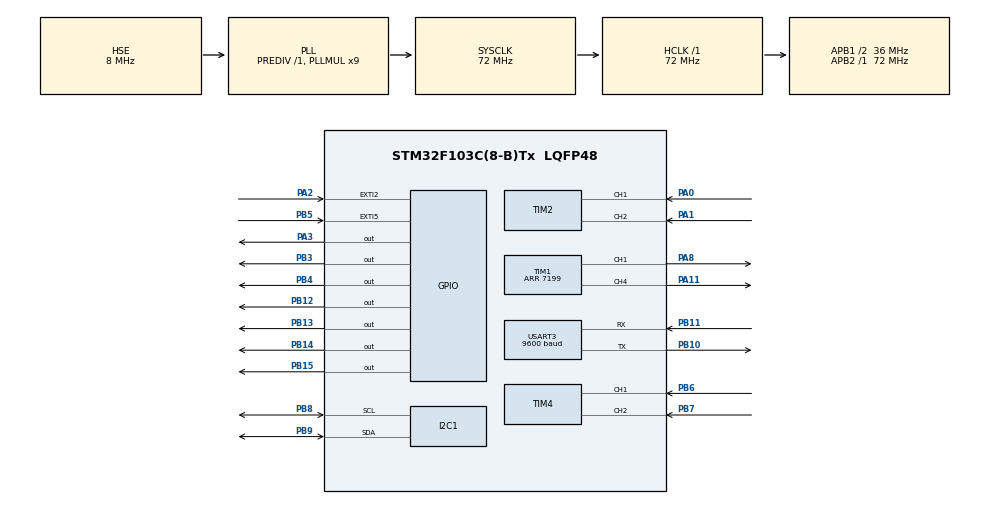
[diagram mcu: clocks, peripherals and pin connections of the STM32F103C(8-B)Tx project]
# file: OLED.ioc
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FREERTOS.Tasks01=defaultTask,0,128,StartDefaultTask,Default,NULL,Dynamic,NULL,NULL
Mcu.Family=STM32F1
Mcu.Name=STM32F103C(8-B)Tx
Mcu.Package=LQFP48
NVIC.EXTI2_IRQn=true\:5\:0\:false\:false\:true\:true\:true\:true\:true
NVIC.EXTI9_5_IRQn=true\:5\:0\:false\:false\:true\:true\:true\:true\:true
NVIC.PriorityGroup=NVIC_PRIORITYGROUP_4
NVIC.USART3_IRQn=true\:5\:0\:false\:false\:true\:true\:true\:true\:true
PA0-WKUP.Signal=S_TIM2_CH1_ETR
PA1.Signal=S_TIM2_CH2
PA11.Signal=S_TIM1_CH4
PA13.Mode=Serial_Wire
PA13.Signal=SYS_JTMS-SWDIO
PA14.Mode=Serial_Wire
PA14.Signal=SYS_JTCK-SWCLK
PA2.GPIO_ModeDefaultEXTI=GPIO_MODE_IT_RISING_FALLING
PA2.Signal=GPXTI2
PA3.GPIO_Speed=GPIO_SPEED_FREQ_HIGH
PA3.Signal=GPIO_Output
PA8.Signal=S_TIM1_CH1
PB10.Mode=Asynchronous
PB10.Signal=USART3_TX
PB11.Mode=Asynchronous
PB11.Signal=USART3_RX
PB12.Signal=GPIO_Output
PB13.Signal=GPIO_Output
PB14.Signal=GPIO_Output
PB15.Signal=GPIO_Output
PB3.Signal=GPIO_Output
PB4.Signal=GPIO_Output
PB5.GPIO_ModeDefaultEXTI=GPIO_MODE_IT_FALLING
PB5.GPIO_PuPd=GPIO_PULLUP
PB5.Signal=GPXTI5
PB6.Signal=S_TIM4_CH1
PB7.Signal=S_TIM4_CH2
PB8.Mode=I2C
PB8.Signal=I2C1_SCL
PB9.Mode=I2C
PB9.Signal=I2C1_SDA
PC14-OSC32_IN.Mode=LSE-External-Oscillator
PC14-OSC32_IN.Signal=RCC_OSC32_IN
PC15-OSC32_OUT.Mode=LSE-External-Oscillator
PC15-OSC32_OUT.Signal=RCC_OSC32_OUT
PD0-OSC_IN.Mode=HSE-External-Oscillator
PD0-OSC_IN.Signal=RCC_OSC_IN
PD1-OSC_OUT.Mode=HSE-External-Oscillator
PD1-OSC_OUT.Signal=RCC_OSC_OUT
ProjectManager.HeapSize=0x200
ProjectManager.StackSize=0x400
ProjectManager.TargetToolchain=MDK-ARM V5.32
RCC.AHBFreq_Value=72000000
RCC.APB1CLKDivider=RCC_HCLK_DIV2
RCC.APB1Freq_Value=36000000
RCC.APB1TimFreq_Value=72000000
RCC.APB2Freq_Value=72000000
RCC.APB2TimFreq_Value=72000000
RCC.HCLKFreq_Value=72000000
RCC.PLLMUL=RCC_PLL_MUL9
RCC.PLLSourceVirtual=RCC_PLLSOURCE_HSE
RCC.SYSCLKFreq_VALUE=72000000
RCC.SYSCLKSource=RCC_SYSCLKSOURCE_PLLCLK
RCC.USBFreq_Value=72000000
SH.S_TIM1_CH1.0=TIM1_CH1,PWM Generation1 CH1
SH.S_TIM1_CH4.0=TIM1_CH4,PWM Generation4 CH4
SH.S_TIM2_CH1_ETR.0=TIM2_CH1,Encoder_Interface
SH.S_TIM2_CH2.0=TIM2_CH2,Encoder_Interface
SH.S_TIM4_CH1.0=TIM4_CH1,Encoder_Interface
SH.S_TIM4_CH2.0=TIM4_CH2,Encoder_Interface
TIM1.Channel-PWM\ Generation1\ CH1=TIM_CHANNEL_1
TIM1.Channel-PWM\ Generation4\ CH4=TIM_CHANNEL_4
TIM1.Period=7199
TIM1.Pulse-PWM\ Generation1\ CH1=7200
TIM2.EncoderMode=TIM_ENCODERMODE_TI12
TIM3.Prescaler=71
TIM4.EncoderMode=TIM_ENCODERMODE_TI12
USART3.BaudRate=9600
USART3.VirtualMode=VM_ASYNC
VP_FREERTOS_VS_CMSIS_V1.Mode=CMSIS_V1
VP_TIM3_VS_ClockSourceINT.Mode=Internal
board=custom

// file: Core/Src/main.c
/* USER CODE BEGIN Header */
/**
  ******************************************************************************
  * @file           : main.c
  * @brief          : Main program body
  ******************************************************************************
  * @attention
  *
  * Copyright (c) 2024 STMicroelectronics.
  * All rights reserved.
  *
  * This software is licensed under terms that can be found in the LICENSE file
  * in the root directory of this software component.
  * If no LICENSE file comes with this software, it is provided AS-IS.
  *
  ******************************************************************************
  */
/* USER CODE END Header */
#include "main.h"
#include "cmsis_os.h"
#include "i2c.h"
#include "tim.h"
#include "usart.h"
#include "gpio.h"

/* USER CODE BEGIN Includes */
#include "oled.h"
#include "IIC.h"
#include "inv_mpu.h"
#include "inv_mpu_dmp_motion_driver.h"
#include "mpu6050.h"
#include "stdio.h"
#include "sr04.h"
#include "motor.h"
#include "encoder.h"
/* USER CODE END Includes */

/* USER CODE BEGIN PV */
extern float roll;
extern int Encoder_Left,Encoder_Right;
uint8_t display_buf[20];
uint32_t sys_tick;
extern float distance;
extern uint8_t rx_buf[2];
extern SemaphoreHandle_t g_ctrl_share_mutex;
extern SemaphoreHandle_t g_oled_mutex;
extern SemaphoreHandle_t g_ble_data_mutex;
/* USER CODE END PV */

void SystemClock_Config(void);
void MX_FREERTOS_Init(void);
/* USER CODE BEGIN PFP */
void Read(void);
/* USER CODE END PFP */

int main(void)
{

  /* MCU Configuration--------------------------------------------------------*/

  /* Reset of all peripherals, Initializes the Flash interface and the Systick. */
  HAL_Init();

  /* Configure the system clock */
  SystemClock_Config();

  /* Initialize all configured peripherals */
  MX_GPIO_Init();
  MX_I2C1_Init();
  MX_TIM3_Init();
  MX_TIM1_Init();
  MX_TIM2_Init();
  MX_TIM4_Init();
  MX_USART3_UART_Init();
  /* USER CODE BEGIN 2 */
	OLED_Init();
	OLED_Clear();
	MPU_Init();
	mpu_dmp_init();

	OLED_ShowString(0,00,"Init Sucess",16);

	HAL_NVIC_SetPriority(EXTI9_5_IRQn, 0, 0);
    HAL_NVIC_EnableIRQ(EXTI9_5_IRQn);

	HAL_TIM_PWM_Start(&htim1,TIM_CHANNEL_1);
	HAL_TIM_PWM_Start(&htim1,TIM_CHANNEL_4);
	HAL_TIM_Encoder_Start(&htim2,TIM_CHANNEL_ALL);
	HAL_TIM_Encoder_Start(&htim4,TIM_CHANNEL_ALL);
	HAL_UART_Receive_IT(&huart3,rx_buf,1);
	Load(0,0);
	OLED_Clear();

	// ����������
    g_ctrl_share_mutex = xSemaphoreCreateMutex();
    g_oled_mutex = xSemaphoreCreateMutex();
  /* USER CODE END 2 */

  /* Call init function for freertos objects (in freertos.c) */
  MX_FREERTOS_Init();

  /* Start scheduler */
  osKernelStart();

  /* We should never get here as control is now taken by the scheduler */
  /* Infinite loop */
  /* USER CODE BEGIN WHILE */
  while (1)
  {
//		sprintf((char *)display_buf,"Encoder_L:%d   ",Encoder_Left);
//		OLED_ShowString(0,0,display_buf,16);
//		sprintf((char *)display_buf,"Encoder_R:%d   ",Encoder_Right);
//		OLED_ShowString(0,2,display_buf,16);
//		sprintf((char *)display_buf,"roll:%.1f   ",roll);
//		OLED_ShowString(0,4,display_buf,16);
//		GET_Distance();
//		sprintf((char *)display_buf,"distance:%.1f  ",distance);
//		OLED_ShowString(0,6,display_buf,12);
//    /* USER CODE END WHILE */

  }
}

void SystemClock_Config(void)
{
  RCC_OscInitTypeDef RCC_OscInitStruct = {0};
  RCC_ClkInitTypeDef RCC_ClkInitStruct = {0};

  /** Initializes the RCC Oscillators according to the specified parameters
  * in the RCC_OscInitTypeDef structure.
  */
  RCC_OscInitStruct.OscillatorType = RCC_OSCILLATORTYPE_HSE;
  RCC_OscInitStruct.HSEState = RCC_HSE_ON;
  RCC_OscInitStruct.HSEPredivValue = RCC_HSE_PREDIV_DIV1;
  RCC_OscInitStruct.HSIState = RCC_HSI_ON;
  RCC_OscInitStruct.PLL.PLLState = RCC_PLL_ON;
  RCC_OscInitStruct.PLL.PLLSource = RCC_PLLSOURCE_HSE;
  RCC_OscInitStruct.PLL.PLLMUL = RCC_PLL_MUL9;
  if (HAL_RCC_OscConfig(&RCC_OscInitStruct) != HAL_OK)
  {
    Error_Handler();
  }

  /** Initializes the CPU, AHB and APB buses clocks
  */
  RCC_ClkInitStruct.ClockType = RCC_CLOCKTYPE_HCLK|RCC_CLOCKTYPE_SYSCLK
                              |RCC_CLOCKTYPE_PCLK1|RCC_CLOCKTYPE_PCLK2;
  RCC_ClkInitStruct.SYSCLKSource = RCC_SYSCLKSOURCE_PLLCLK;
  RCC_ClkInitStruct.AHBCLKDivider = RCC_SYSCLK_DIV1;
  RCC_ClkInitStruct.APB1CLKDivider = RCC_HCLK_DIV2;
  RCC_ClkInitStruct.APB2CLKDivider = RCC_HCLK_DIV1;

  if (HAL_RCC_ClockConfig(&RCC_ClkInitStruct, FLASH_LATENCY_2) != HAL_OK)
  {
    Error_Handler();
  }
}

void Error_Handler(void)
{
  __disable_irq();
  while (1)
  {
  }
}

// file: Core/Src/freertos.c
/* USER CODE BEGIN Header */
/**
  ******************************************************************************
  * File Name          : freertos.c
  * Description        : Code for freertos applications
  ******************************************************************************
  * @attention
  *
  * Copyright (c) 2025 STMicroelectronics.
  * All rights reserved.
  *
  * This software is licensed under terms that can be found in the LICENSE file
  * in the root directory of this software component.
  * If no LICENSE file comes with this software, it is provided AS-IS.
  *
  ******************************************************************************
  */
/* USER CODE END Header */

#include "FreeRTOS.h"
#include "task.h"
#include "main.h"
#include "cmsis_os.h"

/* USER CODE BEGIN PD */
	extern void control_task(void const * argument);
	extern void ui_task(void const * argument);
	extern void ble_task(void const * argument);
/* USER CODE END PD */

/* USER CODE BEGIN Variables */
osThreadId controlTaskHandle;
osThreadId uiTaskHandle;
osThreadId bleTaskHandle;
// 1. 定义全局互斥量/信号量句柄
SemaphoreHandle_t g_ctrl_share_mutex = NULL;
SemaphoreHandle_t g_oled_mutex = NULL;
SemaphoreHandle_t g_ble_data_mutex= NULL;
/* USER CODE END Variables */
osThreadId defaultTaskHandle;

void StartDefaultTask(void const * argument);

void MX_FREERTOS_Init(void); /* (MISRA C 2004 rule 8.1) */

/* GetIdleTaskMemory prototype (linked to static allocation support) */
void vApplicationGetIdleTaskMemory( StaticTask_t **ppxIdleTaskTCBBuffer, StackType_t **ppxIdleTaskStackBuffer, uint32_t *pulIdleTaskStackSize );

/* USER CODE BEGIN GET_IDLE_TASK_MEMORY */
static StaticTask_t xIdleTaskTCBBuffer;
static StackType_t xIdleStack[configMINIMAL_STACK_SIZE];

void vApplicationGetIdleTaskMemory( StaticTask_t **ppxIdleTaskTCBBuffer, StackType_t **ppxIdleTaskStackBuffer, uint32_t *pulIdleTaskStackSize )
{
  *ppxIdleTaskTCBBuffer = &xIdleTaskTCBBuffer;
  *ppxIdleTaskStackBuffer = &xIdleStack[0];
  *pulIdleTaskStackSize = configMINIMAL_STACK_SIZE;
  /* place for user code */
}
/* USER CODE END GET_IDLE_TASK_MEMORY */

void MX_FREERTOS_Init(void) {

  /* Create the thread(s) */
  /* definition and creation of defaultTask */
  osThreadDef(defaultTask, StartDefaultTask, osPriorityNormal, 0, 128);
  defaultTaskHandle = osThreadCreate(osThread(defaultTask), NULL);

  /* USER CODE BEGIN RTOS_THREADS */
  /* add threads
  osPriorityIdle          = -3,          ///< priority: idle (lowest)
  osPriorityLow           = -2,          ///< priority: low
  osPriorityBelowNormal   = -1,          ///< priority: below normal
  osPriorityNormal        =  0,          ///< priority: normal (default)
  osPriorityAboveNormal   = +1,          ///< priority: above normal
  osPriorityHigh          = +2,          ///< priority: high
  osPriorityRealtime      = +3,          ///< priority: realtime (highest)
  */

  //control_task�����Ŀ��������жϻ���
  osThreadDef(control_task, control_task, osPriorityRealtime, 0, 256);
  controlTaskHandle = osThreadCreate(osThread(control_task), NULL);

    osThreadDef(ui_task, ui_task, osPriorityBelowNormal, 0, 256);
  uiTaskHandle = osThreadCreate(osThread(ui_task), NULL);

  osThreadDef(ble_task, ble_task, osPriorityHigh, 0, 128);
  bleTaskHandle = osThreadCreate(osThread(ble_task), NULL);

  /* USER CODE END RTOS_THREADS */

}

void StartDefaultTask(void const * argument)
{
  for(;;)
  {
    osDelay(1);
  }
}
